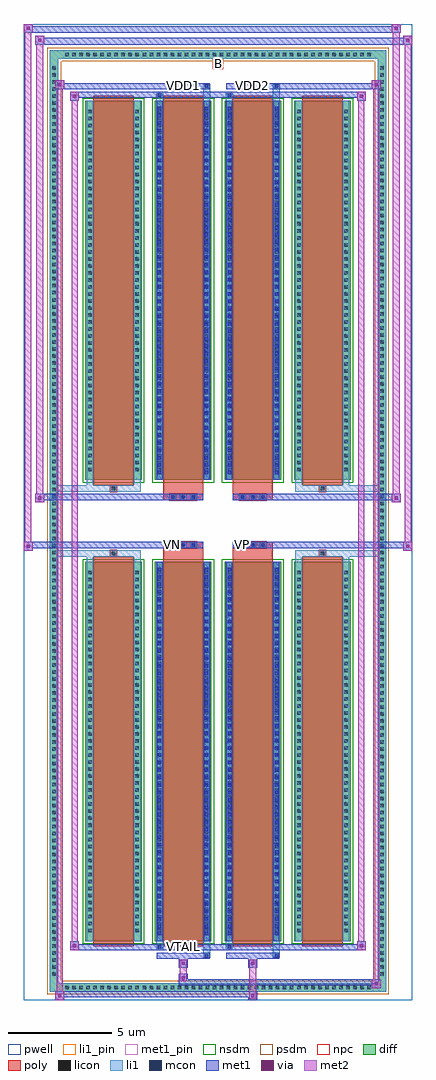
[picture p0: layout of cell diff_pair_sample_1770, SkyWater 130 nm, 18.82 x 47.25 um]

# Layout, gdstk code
import gdstk
lib = gdstk.Library(unit=1e-6, precision=5e-09)
def R(c, l, rs):  # rectangles x0, y0, x1, y1
    for r in rs: c.add(gdstk.rectangle(r[:2], r[2:], *l))
def A(c, l, x, y, w, h, nx, ny, dx, dy):  # array of equal rectangles
    R(c, l, [(x+i*dx, y+j*dy, x+i*dx+w, y+j*dy+h) for i in range(nx) for j in range(ny)])
def P(c, l, *ps):  # polygons
    for p in ps: c.add(gdstk.Polygon(p, *l))
pwell = (64, 44)
diff = (65, 20)
poly = (66, 20)
licon = (66, 44)
li1_pin = (67, 16)
li1 = (67, 20)
mcon = (67, 44)
met1_pin = (68, 16)
met1 = (68, 20)
via = (68, 44)
met2 = (69, 20)
nsdm = (93, 44)
psdm = (94, 20)
npc = (95, 20)

diff_pair_sample_1770 = lib.new_cell('diff_pair_sample_1770')
R(diff_pair_sample_1770, pwell, [(-9.41,-23.19,9.41,24.06), (-6.73,-21.38,-0.01,-0.8), (0.01,-21.38,6.73,-0.8), (-6.73,0.8,-0.01,21.38), (0.01,0.8,6.73,21.38)])
A(diff_pair_sample_1770, diff, -7.515, -22.79, 0.41, 0.41, 44, 2, 0.34, 45.17)
A(diff_pair_sample_1770, diff, -8.14, -22.135, 0.41, 0.41, 1, 130, 0, 0.34)
A(diff_pair_sample_1770, diff, 7.73, -22.135, 0.41, 0.41, 1, 130, 0, 0.34)
A(diff_pair_sample_1770, diff, -6.42, -20.335, 2.73, 18.35, 4, 2, 3.37, 22.32)
R(diff_pair_sample_1770, diff, [(-7.515,-22.79,7.515,-22.38), (-8.14,-22.135,-7.73,22.135), (7.73,-22.135,8.14,22.135), (-7.515,22.38,7.515,22.79)])
P(diff_pair_sample_1770, diff, [(8.14,22.79),(-8.14,22.79),(-8.14,-22.38),(-7.73,-22.38),(-7.73,22.38),(7.73,22.38),(7.73,-22.38),(-7.73,-22.38),(-8.14,-22.38),(-8.14,-22.79),(8.14,-22.79)])
A(diff_pair_sample_1770, poly, -6.03, -20.585, 1.95, 18.85, 4, 2, 3.37, 22.32)
A(diff_pair_sample_1770, poly, -2.35, -1.33, 0.33, 0.33, 3, 2, 0.5, 2.33)
A(diff_pair_sample_1770, poly, 1.02, -1.33, 0.33, 0.33, 3, 2, 0.5, 2.33)
R(diff_pair_sample_1770, poly, [(-5.22,-1.735,-4.89,-1.405), (-5.22,-1.735,-4.89,-1.405), (-2.66,-1.735,-0.71,-1.33), (0.71,-1.735,2.66,-1.33), (4.89,-1.735,5.22,-1.405), (4.89,-1.735,5.22,-1.405), (-2.66,-1.33,-0.71,-1), (0.71,-1.33,2.66,-1), (-2.66,1,-0.71,1.33), (0.71,1,2.66,1.33), (-2.66,1.33,-0.71,1.735), (0.71,1.33,2.66,1.735), (-5.22,1.405,-4.89,1.735), (-5.22,1.405,-4.89,1.735), (4.89,1.405,5.22,1.735), (4.89,1.405,5.22,1.735)])
A(diff_pair_sample_1770, licon, -7.395, -22.67, 0.17, 0.17, 44, 2, 0.34, 45.17)
A(diff_pair_sample_1770, licon, -8.02, -22.015, 0.17, 0.17, 1, 130, 0, 0.34)
A(diff_pair_sample_1770, licon, 7.85, -22.015, 0.17, 0.17, 1, 130, 0, 0.34)
A(diff_pair_sample_1770, licon, -6.28, -19.915, 0.17, 0.17, 1, 52, 0, 0.34)
A(diff_pair_sample_1770, licon, -4, -19.915, 0.17, 0.17, 1, 52, 0, 0.34)
A(diff_pair_sample_1770, licon, -2.91, -19.915, 0.17, 0.17, 1, 52, 0, 0.34)
A(diff_pair_sample_1770, licon, -0.63, -19.915, 0.17, 0.17, 1, 52, 0, 0.34)
A(diff_pair_sample_1770, licon, 0.46, -19.915, 0.17, 0.17, 1, 52, 0, 0.34)
A(diff_pair_sample_1770, licon, 2.74, -19.915, 0.17, 0.17, 1, 52, 0, 0.34)
A(diff_pair_sample_1770, licon, 3.83, -19.915, 0.17, 0.17, 1, 52, 0, 0.34)
A(diff_pair_sample_1770, licon, 6.11, -19.915, 0.17, 0.17, 1, 52, 0, 0.34)
A(diff_pair_sample_1770, licon, -2.27, -1.25, 0.17, 0.17, 3, 2, 0.5, 2.33)
A(diff_pair_sample_1770, licon, 1.1, -1.25, 0.17, 0.17, 3, 2, 0.5, 2.33)
A(diff_pair_sample_1770, licon, -6.28, 2.405, 0.17, 0.17, 1, 52, 0, 0.34)
A(diff_pair_sample_1770, licon, -4, 2.405, 0.17, 0.17, 1, 52, 0, 0.34)
A(diff_pair_sample_1770, licon, -2.91, 2.405, 0.17, 0.17, 1, 52, 0, 0.34)
A(diff_pair_sample_1770, licon, -0.63, 2.405, 0.17, 0.17, 1, 52, 0, 0.34)
A(diff_pair_sample_1770, licon, 0.46, 2.405, 0.17, 0.17, 1, 52, 0, 0.34)
A(diff_pair_sample_1770, licon, 2.74, 2.405, 0.17, 0.17, 1, 52, 0, 0.34)
A(diff_pair_sample_1770, licon, 3.83, 2.405, 0.17, 0.17, 1, 52, 0, 0.34)
A(diff_pair_sample_1770, licon, 6.11, 2.405, 0.17, 0.17, 1, 52, 0, 0.34)
R(diff_pair_sample_1770, licon, [(-5.14,-1.655,-4.97,-1.485), (4.97,-1.655,5.14,-1.485), (-5.14,1.485,-4.97,1.655), (4.97,1.485,5.14,1.655)])
R(diff_pair_sample_1770, li1_pin, [(-0.25,21.88,0.25,22.38)])
A(diff_pair_sample_1770, li1, -7.475, -22.75, 0.33, 0.33, 44, 2, 0.34, 45.17)
A(diff_pair_sample_1770, li1, -8.1, -22.095, 0.33, 0.33, 1, 130, 0, 0.34)
A(diff_pair_sample_1770, li1, 7.77, -22.095, 0.33, 0.33, 1, 130, 0, 0.34)
A(diff_pair_sample_1770, li1, -2.91, -20.065, 0.17, 0.17, 1, 50, 0, 0.36)
A(diff_pair_sample_1770, li1, -0.63, -20.065, 0.17, 0.17, 1, 50, 0, 0.36)
A(diff_pair_sample_1770, li1, 0.46, -20.065, 0.17, 0.17, 1, 50, 0, 0.36)
A(diff_pair_sample_1770, li1, 2.74, -20.065, 0.17, 0.17, 1, 50, 0, 0.36)
A(diff_pair_sample_1770, li1, -6.36, -19.995, 0.33, 0.33, 1, 52, 0, 0.34)
A(diff_pair_sample_1770, li1, -4.08, -19.995, 0.33, 0.33, 1, 52, 0, 0.34)
A(diff_pair_sample_1770, li1, -2.99, -19.995, 0.33, 0.33, 1, 52, 0, 0.34)
A(diff_pair_sample_1770, li1, -0.71, -19.995, 0.33, 0.33, 1, 52, 0, 0.34)
A(diff_pair_sample_1770, li1, 0.38, -19.995, 0.33, 0.33, 1, 52, 0, 0.34)
A(diff_pair_sample_1770, li1, 2.66, -19.995, 0.33, 0.33, 1, 52, 0, 0.34)
A(diff_pair_sample_1770, li1, 3.75, -19.995, 0.33, 0.33, 1, 52, 0, 0.34)
A(diff_pair_sample_1770, li1, 6.03, -19.995, 0.33, 0.33, 1, 52, 0, 0.34)
A(diff_pair_sample_1770, li1, -2.35, -1.33, 0.33, 0.33, 3, 2, 0.5, 2.33)
A(diff_pair_sample_1770, li1, 1.02, -1.33, 0.33, 0.33, 3, 2, 0.5, 2.33)
A(diff_pair_sample_1770, li1, -2.91, 2.255, 0.17, 0.17, 1, 50, 0, 0.36)
A(diff_pair_sample_1770, li1, -0.63, 2.255, 0.17, 0.17, 1, 50, 0, 0.36)
A(diff_pair_sample_1770, li1, 0.46, 2.255, 0.17, 0.17, 1, 50, 0, 0.36)
A(diff_pair_sample_1770, li1, 2.74, 2.255, 0.17, 0.17, 1, 50, 0, 0.36)
A(diff_pair_sample_1770, li1, -6.36, 2.325, 0.33, 0.33, 1, 52, 0, 0.34)
A(diff_pair_sample_1770, li1, -4.08, 2.325, 0.33, 0.33, 1, 52, 0, 0.34)
A(diff_pair_sample_1770, li1, -2.99, 2.325, 0.33, 0.33, 1, 52, 0, 0.34)
A(diff_pair_sample_1770, li1, -0.71, 2.325, 0.33, 0.33, 1, 52, 0, 0.34)
A(diff_pair_sample_1770, li1, 0.38, 2.325, 0.33, 0.33, 1, 52, 0, 0.34)
A(diff_pair_sample_1770, li1, 2.66, 2.325, 0.33, 0.33, 1, 52, 0, 0.34)
A(diff_pair_sample_1770, li1, 3.75, 2.325, 0.33, 0.33, 1, 52, 0, 0.34)
A(diff_pair_sample_1770, li1, 6.03, 2.325, 0.33, 0.33, 1, 52, 0, 0.34)
R(diff_pair_sample_1770, li1, [(-8.14,-22.79,-7.73,-22.38), (-8.14,-22.79,-7.73,-22.38), (-7.73,-22.79,7.73,-22.38), (7.73,-22.79,8.14,-22.38), (7.73,-22.79,8.14,-22.38), (-8.14,-22.38,-7.73,22.38), (7.73,-22.38,8.14,22.38), (-0.71,-21.14,-0.38,-20.335), (-0.63,-21.14,-0.46,-20.97), (2.66,-21.14,2.99,-20.335), (2.74,-21.14,2.91,-20.97), (-2.99,-20.71,-2.66,-20.335), (-2.91,-20.71,-2.74,-20.54), (0.38,-20.71,0.71,-20.335), (0.46,-20.71,0.63,-20.54), (-6.36,-20.335,-6.03,-1.985), (-4.08,-20.335,-3.75,-1.985), (-2.99,-20.335,-2.66,-1.985), (-0.71,-20.335,-0.38,-1.985), (0.38,-20.335,0.71,-1.985), (2.66,-20.335,2.99,-1.985), (3.75,-20.335,4.08,-1.985), (6.03,-20.335,6.36,-1.985), (-2.91,-20.065,-2.74,-2.255), (-0.63,-20.065,-0.46,-2.255), (0.46,-20.065,0.63,-2.255), (2.74,-20.065,2.91,-2.255), (-6.36,-1.985,-6.03,-1.405), (-4.08,-1.985,-3.75,-1.405), (3.75,-1.985,4.08,-1.405), (6.03,-1.985,6.36,-1.405), (-8.14,-1.735,-5.22,-1.405), (-6.36,-1.735,-5.22,-1.405), (-5.22,-1.735,-4.89,-1.405), (-4.89,-1.735,-3.75,-1.405), (3.75,-1.735,4.89,-1.405), (4.89,-1.735,5.22,-1.405), (4.89,-1.735,8.14,-1.405), (5.22,-1.735,6.36,-1.405), (-8.14,1.405,-5.22,1.735), (-6.36,1.405,-5.22,1.735), (-6.36,1.405,-6.03,1.985), (-5.22,1.405,-4.89,1.735), (-4.89,1.405,-3.75,1.735), (-4.08,1.405,-3.75,1.985), (3.75,1.405,4.89,1.735), (3.75,1.405,4.08,1.985), (4.89,1.405,5.22,1.735), (4.89,1.405,8.14,1.735), (5.22,1.405,6.36,1.735), (6.03,1.405,6.36,1.985), (-6.36,1.985,-6.03,20.335), (-4.08,1.985,-3.75,20.335), (-2.99,1.985,-2.66,20.335), (-0.71,1.985,-0.38,20.335), (0.38,1.985,0.71,20.335), (2.66,1.985,2.99,20.335), (3.75,1.985,4.08,20.335), (6.03,1.985,6.36,20.335), (-2.91,2.255,-2.74,20.065), (-0.63,2.255,-0.46,20.065), (0.46,2.255,0.63,20.065), (2.74,2.255,2.91,20.065), (-2.99,20.335,-2.66,20.71), (-0.71,20.335,-0.38,21.14), (0.38,20.335,0.71,20.71), (2.66,20.335,2.99,21.14), (-2.91,20.54,-2.74,20.71), (0.46,20.54,0.63,20.71), (-0.63,20.97,-0.46,21.14), (2.74,20.97,2.91,21.14), (-8.14,22.38,-7.73,22.79), (-8.14,22.38,-7.73,22.79), (-7.73,22.38,7.73,22.79), (7.73,22.38,8.14,22.79), (7.73,22.38,8.14,22.79)])
A(diff_pair_sample_1770, mcon, -2.91, -20.065, 0.17, 0.17, 1, 50, 0, 0.36)
A(diff_pair_sample_1770, mcon, -0.63, -20.065, 0.17, 0.17, 1, 50, 0, 0.36)
A(diff_pair_sample_1770, mcon, 0.46, -20.065, 0.17, 0.17, 1, 50, 0, 0.36)
A(diff_pair_sample_1770, mcon, 2.74, -20.065, 0.17, 0.17, 1, 50, 0, 0.36)
A(diff_pair_sample_1770, mcon, -2.27, -1.25, 0.17, 0.17, 3, 2, 0.5, 2.33)
A(diff_pair_sample_1770, mcon, 1.1, -1.25, 0.17, 0.17, 3, 2, 0.5, 2.33)
A(diff_pair_sample_1770, mcon, -2.91, 2.255, 0.17, 0.17, 1, 50, 0, 0.36)
A(diff_pair_sample_1770, mcon, -0.63, 2.255, 0.17, 0.17, 1, 50, 0, 0.36)
A(diff_pair_sample_1770, mcon, 0.46, 2.255, 0.17, 0.17, 1, 50, 0, 0.36)
A(diff_pair_sample_1770, mcon, 2.74, 2.255, 0.17, 0.17, 1, 50, 0, 0.36)
R(diff_pair_sample_1770, mcon, [(-0.63,-21.14,-0.46,-20.97), (2.74,-21.14,2.91,-20.97), (-2.91,-20.71,-2.74,-20.54), (0.46,-20.71,0.63,-20.54), (-2.91,20.54,-2.74,20.71), (0.46,20.54,0.63,20.71), (-0.63,20.97,-0.46,21.14), (2.74,20.97,2.91,21.14)])
R(diff_pair_sample_1770, met1_pin, [(-1.82,-20.75,-1.55,-20.48), (-2.32,-1.29,-2.05,-1.02), (1.05,-1.29,1.32,-1.02), (-1.82,20.93,-1.55,21.2), (1.55,20.93,1.82,21.2)])
A(diff_pair_sample_1770, met1, -2.97, -20.125, 0.29, 0.29, 1, 50, 0, 0.36)
A(diff_pair_sample_1770, met1, -0.69, -20.125, 0.29, 0.29, 1, 50, 0, 0.36)
A(diff_pair_sample_1770, met1, 0.4, -20.125, 0.29, 0.29, 1, 50, 0, 0.36)
A(diff_pair_sample_1770, met1, 2.68, -20.125, 0.29, 0.29, 1, 50, 0, 0.36)
A(diff_pair_sample_1770, met1, -2.33, -1.31, 0.29, 0.29, 3, 2, 0.5, 2.33)
A(diff_pair_sample_1770, met1, 1.04, -1.31, 0.29, 0.29, 3, 2, 0.5, 2.33)
A(diff_pair_sample_1770, met1, -2.97, 2.195, 0.29, 0.29, 1, 50, 0, 0.36)
A(diff_pair_sample_1770, met1, -0.69, 2.195, 0.29, 0.29, 1, 50, 0, 0.36)
A(diff_pair_sample_1770, met1, 0.4, 2.195, 0.29, 0.29, 1, 50, 0, 0.36)
A(diff_pair_sample_1770, met1, 2.68, 2.195, 0.29, 0.29, 1, 50, 0, 0.36)
R(diff_pair_sample_1770, met1, [(-7.87,-23.19,-7.44,-22.76), (1.47,-23.19,1.9,-22.76), (-7.87,-23.05,1.9,-22.76), (7.44,-22.62,7.87,-22.19), (-1.9,-22.48,7.87,-22.19), (-1.9,-22.34,-1.47,-21.91), (-1.9,-21.63,-1.47,-21.2), (1.47,-21.63,1.9,-21.2), (-2.97,-21.2,-0.4,-20.91), (-0.69,-21.2,-0.4,-20.91), (0.4,-21.2,2.97,-20.91), (2.68,-21.2,2.97,-20.91), (-7.16,-20.77,-6.73,-20.34), (-7.16,-20.77,-2.97,-20.48), (-2.97,-20.77,-2.68,-20.48), (-2.97,-20.77,-0.4,-20.48), (-0.4,-20.77,0.4,-20.48), (0.4,-20.77,0.69,-20.48), (0.4,-20.77,2.97,-20.48), (2.97,-20.77,7.16,-20.48), (6.73,-20.77,7.16,-20.34), (-2.97,-20.335,-2.68,-1.985), (-0.69,-20.335,-0.4,-1.985), (0.4,-20.335,0.69,-1.985), (2.68,-20.335,2.97,-1.985), (-9.41,-1.43,-8.98,-1), (8.98,-1.43,9.41,-1), (-9.41,-1.33,-0.71,-1), (-2.66,-1.33,-0.71,-1), (0.71,-1.33,2.66,-1), (0.71,-1.33,9.41,-1), (-8.84,0.9,-8.41,1.33), (8.41,0.9,8.84,1.33), (-8.84,1,-2.66,1.33), (-2.66,1,-0.71,1.33), (0.71,1,2.66,1.33), (2.66,1,8.84,1.33), (-2.97,1.985,-2.68,20.335), (-0.69,1.985,-0.4,20.335), (0.4,1.985,0.69,20.335), (2.68,1.985,2.97,20.335), (-7.16,20.34,-6.73,20.77), (6.73,20.34,7.16,20.77), (-7.16,20.48,-2.97,20.77), (-2.97,20.48,-2.68,20.77), (-2.97,20.48,-0.4,20.77), (-0.4,20.48,0.4,20.77), (0.4,20.48,0.69,20.77), (0.4,20.48,2.97,20.77), (2.97,20.48,7.16,20.77), (-7.87,20.91,-7.44,21.34), (-7.87,20.91,-2.97,21.2), (-2.97,20.91,-0.4,21.2), (-0.69,20.91,-0.4,21.2), (0.4,20.91,2.97,21.2), (2.68,20.91,2.97,21.2), (2.97,20.91,7.87,21.2), (7.44,20.91,7.87,21.34), (-8.84,23.06,-8.41,23.49), (-8.84,23.06,-6.73,23.39), (-6.73,23.06,6.73,23.39), (6.73,23.06,9.41,23.39), (8.98,23.06,9.41,23.49), (-9.41,23.63,-8.98,24.06), (-9.41,23.63,-6.73,23.96), (-6.73,23.63,6.73,23.96), (6.73,23.63,8.84,23.96), (8.41,23.63,8.84,24.06)])
R(diff_pair_sample_1770, via, [(-7.73,-23.05,-7.58,-22.9), (1.61,-23.05,1.76,-22.9), (7.58,-22.48,7.73,-22.33), (-1.76,-22.2,-1.61,-22.05), (-1.76,-21.49,-1.61,-21.34), (1.61,-21.49,1.76,-21.34), (-7.02,-20.63,-6.87,-20.48), (6.87,-20.63,7.02,-20.48), (-9.27,-1.29,-9.12,-1.14), (9.12,-1.29,9.27,-1.14), (-8.7,1.04,-8.55,1.19), (8.55,1.04,8.7,1.19), (-7.02,20.48,-6.87,20.63), (6.87,20.48,7.02,20.63), (-7.73,21.05,-7.58,21.2), (7.58,21.05,7.73,21.2), (-8.7,23.2,-8.55,23.35), (9.12,23.2,9.27,23.35), (-9.27,23.77,-9.12,23.92), (8.55,23.77,8.7,23.92)])
R(diff_pair_sample_1770, met2, [(-7.87,-23.19,-7.44,-22.76), (-7.8,-23.19,-7.51,21.34), (-7.51,-23.19,-7.44,-22.76), (-7.82,-23.14,-7.49,-22.81), (1.52,-23.14,1.85,-22.81), (1.52,-22.81,1.85,-21.58), (7.44,-22.62,7.87,-22.19), (7.51,-22.62,7.8,21.34), (7.8,-22.62,7.87,-22.19), (7.49,-22.57,7.82,-22.24), (-1.85,-22.29,-1.52,-21.96), (-1.85,-21.96,-1.52,-21.58), (-1.85,-21.58,-1.52,-21.25), (1.52,-21.58,1.85,-21.25), (-7.16,-20.77,-6.73,-20.34), (-7.09,-20.77,-6.8,20.77), (-6.8,-20.77,-6.73,-20.34), (6.73,-20.77,7.16,-20.34), (6.8,-20.77,7.09,20.77), (7.09,-20.77,7.16,-20.34), (-7.11,-20.72,-6.78,-20.39), (6.78,-20.72,7.11,-20.39), (-9.41,-1.43,-8.98,-1), (-9.36,-1.43,-9.03,24.06), (-9.03,-1.43,-8.98,-1), (8.98,-1.43,9.41,-1), (9.03,-1.43,9.36,23.49), (9.36,-1.43,9.41,-1), (-9.36,-1.38,-9.03,-1.05), (9.03,-1.38,9.36,-1.05), (-8.84,0.9,-8.41,1.33), (-8.79,0.9,-8.46,23.49), (-8.46,0.9,-8.41,1.33), (8.41,0.9,8.84,1.33), (8.46,0.9,8.79,24.06), (8.79,0.9,8.84,1.33), (-8.79,0.95,-8.46,1.28), (8.46,0.95,8.79,1.28), (-7.16,20.34,-6.73,20.77), (-6.8,20.34,-6.73,20.77), (6.73,20.34,7.16,20.77), (7.09,20.34,7.16,20.77), (-7.11,20.39,-6.78,20.72), (6.78,20.39,7.11,20.72), (-7.87,20.91,-7.44,21.34), (-7.51,20.91,-7.44,21.34), (7.44,20.91,7.87,21.34), (7.8,20.91,7.87,21.34), (-7.82,20.96,-7.49,21.29), (7.49,20.96,7.82,21.29), (-8.84,23.06,-8.41,23.49), (-8.46,23.06,-8.41,23.49), (8.98,23.06,9.41,23.49), (9.36,23.06,9.41,23.49), (-8.79,23.11,-8.46,23.44), (9.03,23.11,9.36,23.44), (-9.41,23.63,-8.98,24.06), (-9.03,23.63,-8.98,24.06), (8.41,23.63,8.84,24.06), (8.79,23.63,8.84,24.06), (-9.36,23.68,-9.03,24.01), (8.46,23.68,8.79,24.01)])
A(diff_pair_sample_1770, nsdm, -6.55, -20.465, 2.99, 18.61, 4, 2, 3.37, 22.32)
P(diff_pair_sample_1770, psdm, [(8.27,22.92),(-8.27,22.92),(-8.27,-22.25),(-7.6,-22.25),(-7.6,22.25),(7.6,22.25),(7.6,-22.25),(-7.6,-22.25),(-8.27,-22.25),(-8.27,-22.92),(8.27,-22.92)])
A(diff_pair_sample_1770, npc, -2.37, -1.35, 0.37, 0.37, 3, 2, 0.5, 2.33)
A(diff_pair_sample_1770, npc, 1, -1.35, 0.37, 0.37, 3, 2, 0.5, 2.33)
R(diff_pair_sample_1770, npc, [(-5.24,-1.755,-4.87,-1.385), (4.87,-1.755,5.24,-1.385), (-2.37,-1.35,-1.5,-0.98), (-2.37,-1.35,-1.5,-0.98), (-1.87,-1.35,-1,-0.98), (-1.87,-1.35,-1,-0.98), (1,-1.35,1.87,-0.98), (1,-1.35,1.87,-0.98), (1.5,-1.35,2.37,-0.98), (1.5,-1.35,2.37,-0.98), (-2.37,0.98,-1.5,1.35), (-2.37,0.98,-1.5,1.35), (-1.87,0.98,-1,1.35), (-1.87,0.98,-1,1.35), (1,0.98,1.87,1.35), (1,0.98,1.87,1.35), (1.5,0.98,2.37,1.35), (1.5,0.98,2.37,1.35), (-5.24,1.385,-4.87,1.755), (4.87,1.385,5.24,1.755)])
diff_pair_sample_1770.add(gdstk.Label('VTAIL', (-1.685,-20.615), layer=68, texttype=5))
diff_pair_sample_1770.add(gdstk.Label('VN', (-2.185,-1.155), layer=68, texttype=5))
diff_pair_sample_1770.add(gdstk.Label('VP', (1.185,-1.155), layer=68, texttype=5))
diff_pair_sample_1770.add(gdstk.Label('B', (0,22.13), layer=67, texttype=5))
diff_pair_sample_1770.add(gdstk.Label('VDD2', (1.685,21.065), layer=68, texttype=5))
diff_pair_sample_1770.add(gdstk.Label('VDD1', (-1.685,21.065), layer=68, texttype=5))

lib.write_gds('diff_pair_sample_1770.gds')
